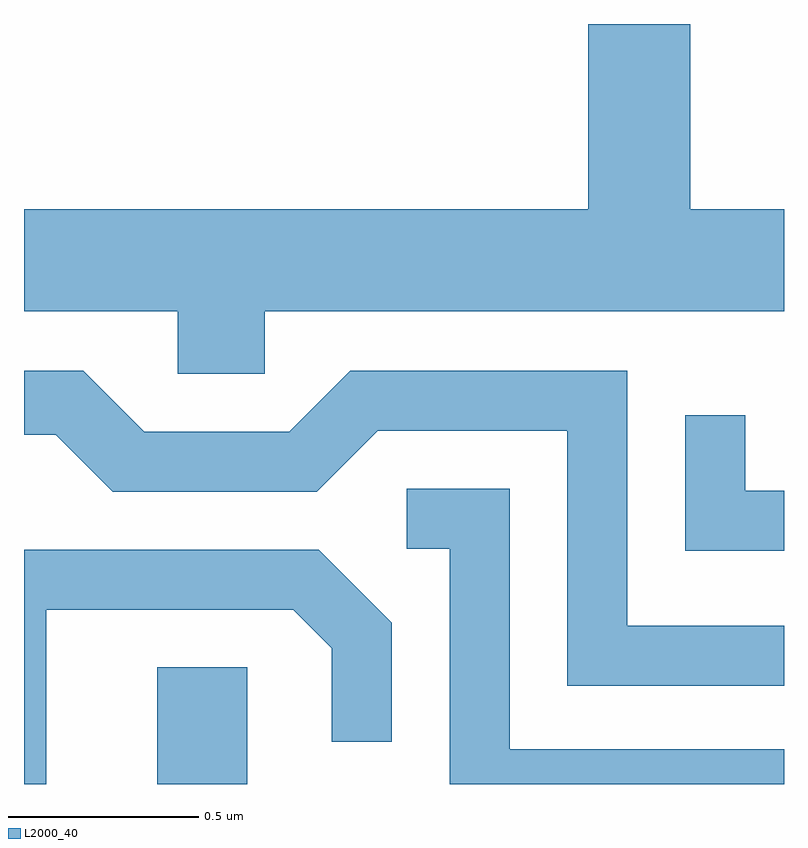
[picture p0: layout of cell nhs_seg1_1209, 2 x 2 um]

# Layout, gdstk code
import gdstk
lib = gdstk.Library(unit=1e-6, precision=1e-09)
def R(c, l, rs):  # rectangles x0, y0, x1, y1
    for r in rs: c.add(gdstk.rectangle(r[:2], r[2:], *l))
def P(c, l, *ps):  # polygons
    for p in ps: c.add(gdstk.Polygon(p, *l))
L2000_40 = (2000, 40)

nhs_seg1_1209 = lib.new_cell('nhs_seg1_1209')
R(nhs_seg1_1209, L2000_40, [(193.961,962.712,194.199,963.019)])
P(nhs_seg1_1209, L2000_40, [(194.244,963.956),(195.611,963.956),(195.611,964.224),(195.364,964.224),(195.364,964.712),(195.096,964.712),(195.096,964.224),(193.611,964.224),(193.611,963.956),(194.016,963.956),(194.016,963.791),(194.244,963.791)],
  [(195.611,963.129),(195.199,963.129),(195.199,963.799),(194.469,963.799),(194.309,963.639),(193.927,963.639),(193.767,963.799),(193.611,963.799),(193.611,963.631),(193.694,963.631),(193.844,963.481),(194.382,963.481),(194.542,963.641),(195.041,963.641),(195.041,962.971),(195.611,962.971)],
  [(195.611,963.484),(195.509,963.484),(195.509,963.683),(195.351,963.683),(195.351,963.326),(195.611,963.326)],
  [(195.611,962.804),(194.889,962.804),(194.889,963.489),(194.618,963.489),(194.618,963.331),(194.731,963.331),(194.731,962.712),(195.611,962.712)],
  [(193.669,963.171),(194.319,963.171),(194.421,963.069),(194.421,962.823),(194.579,962.823),(194.579,963.137),(194.387,963.329),(193.611,963.329),(193.611,962.712),(193.669,962.712)])

lib.write_gds('nhs_seg1_1209.gds')
